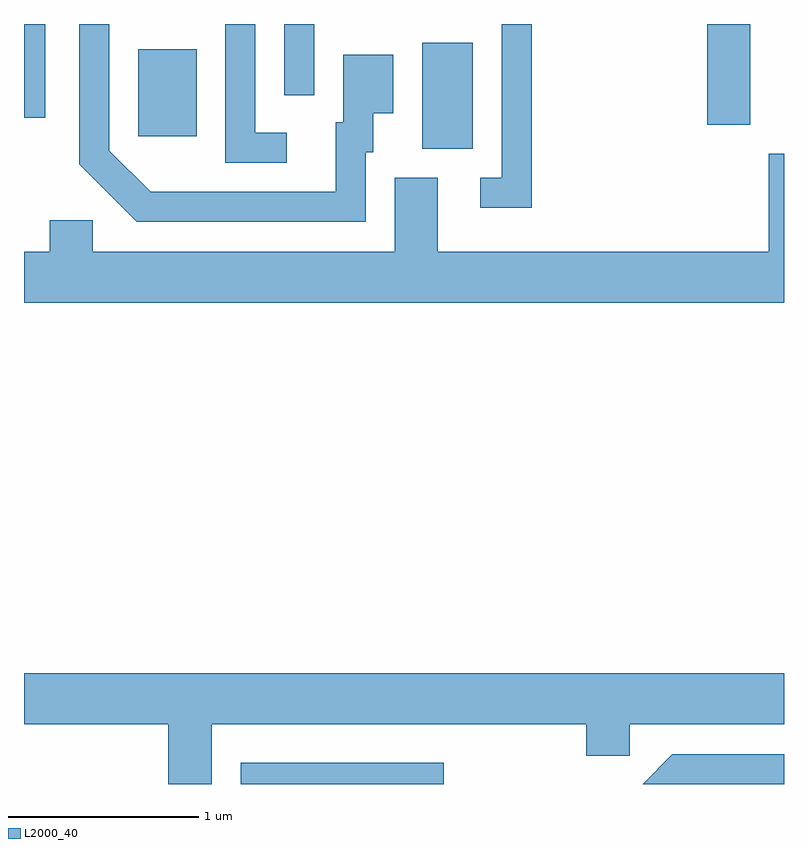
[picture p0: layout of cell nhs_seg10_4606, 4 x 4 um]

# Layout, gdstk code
import gdstk
lib = gdstk.Library(unit=1e-6, precision=1e-09)
def R(c, l, rs):  # rectangles x0, y0, x1, y1
    for r in rs: c.add(gdstk.rectangle(r[:2], r[2:], *l))
def P(c, l, *ps):  # polygons
    for p in ps: c.add(gdstk.Polygon(p, *l))
L2000_40 = (2000, 40)

nhs_seg10_4606 = lib.new_cell('nhs_seg10_4606')
R(nhs_seg10_4606, L2000_40, [(322.751,2082.522,323.819,2082.634), (323.706,2085.866,323.974,2086.424), (322.211,2085.931,322.519,2086.389), (325.206,2085.991,325.434,2086.522), (321.611,2086.028,321.724,2086.522), (322.981,2086.148,323.139,2086.522)])
P(nhs_seg10_4606, L2000_40, [(323.409,2085.846),(323.449,2085.846),(323.449,2086.051),(323.554,2086.051),(323.554,2086.359),(323.291,2086.359),(323.291,2086.004),(323.251,2086.004),(323.251,2085.639),(322.277,2085.639),(322.059,2085.856),(322.059,2086.522),(321.901,2086.522),(321.901,2085.784),(322.204,2085.481),(323.409,2085.481)],
  [(324.284,2086.522),(324.126,2086.522),(324.126,2085.714),(324.013,2085.714),(324.013,2085.556),(324.284,2085.556)],
  [(322.993,2085.949),(322.829,2085.949),(322.829,2086.522),(322.671,2086.522),(322.671,2085.791),(322.993,2085.791)],
  [(325.611,2085.839),(325.531,2085.839),(325.531,2085.324),(323.789,2085.324),(323.789,2085.714),(323.561,2085.714),(323.561,2085.324),(321.974,2085.324),(321.974,2085.489),(321.746,2085.489),(321.746,2085.324),(321.611,2085.324),(321.611,2085.056),(325.611,2085.056)],
  [(322.599,2082.836),(324.571,2082.836),(324.571,2082.671),(324.799,2082.671),(324.799,2082.836),(325.611,2082.836),(325.611,2083.104),(321.611,2083.104),(321.611,2082.836),(322.371,2082.836),(322.371,2082.522),(322.599,2082.522)],
  [(325.611,2082.679),(325.024,2082.679),(324.867,2082.522),(325.611,2082.522)])

lib.write_gds('nhs_seg10_4606.gds')
